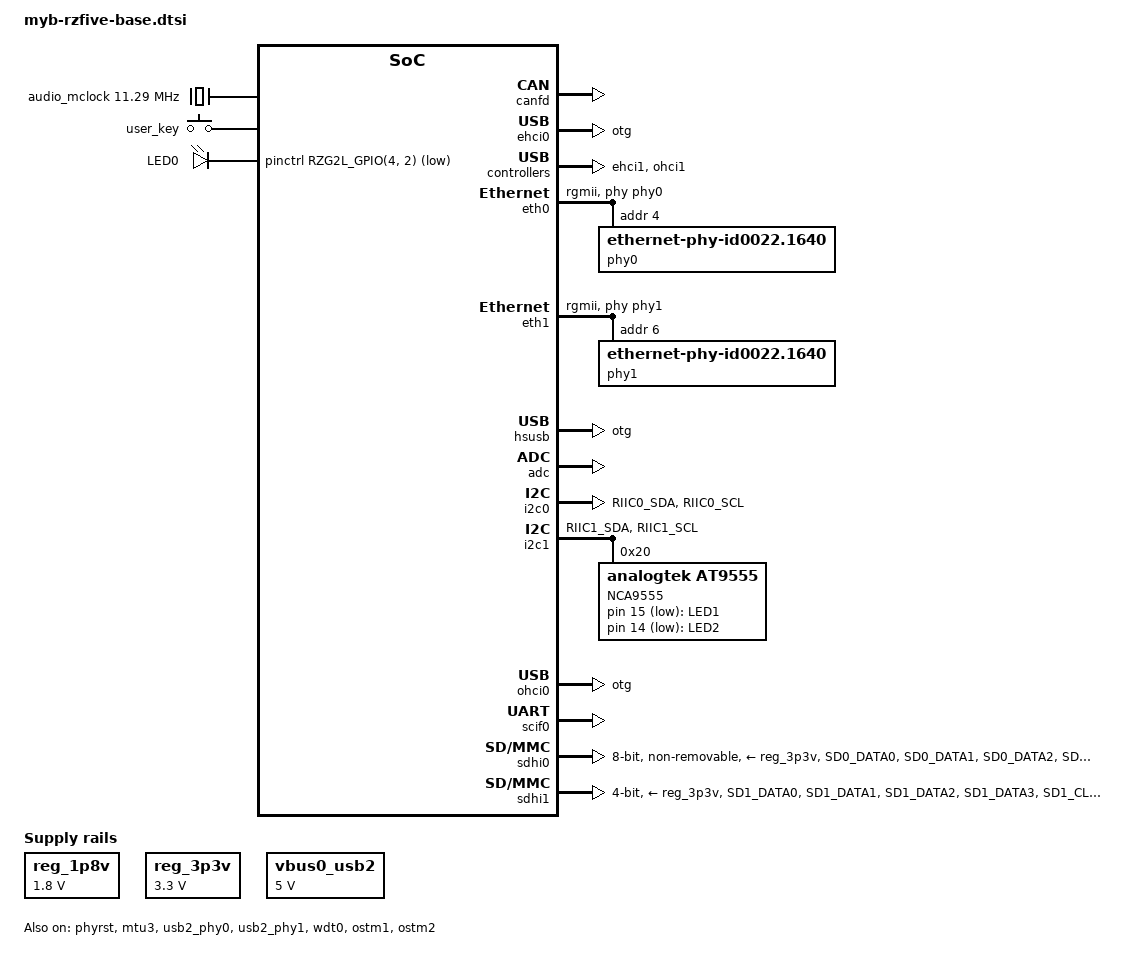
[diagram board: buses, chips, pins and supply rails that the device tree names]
// SPDX-License-Identifier: GPL-2.0
/*
 * Device Tree Source for the RZ/Five Type1 dev board common parts
 *
 * Copyright (C) 2022 MYiR Electronics Corp.
 */

#include <dt-bindings/pinctrl/rzg2l-pinctrl.h>
#include <dt-bindings/gpio/gpio.h>
#include <dt-bindings/input/input.h>

/ {
	aliases {
		i2c0 = &i2c0;
		i2c1 = &i2c1;
		serial0 = &scif0;
		mmc0 = &sdhi0;
		mmc1 = &sdhi1;

		ethernet0 = &eth0;
		ethernet1 = &eth1;
	};

	chosen {
		bootargs = "ignore_loglevel";
		stdout-path = "serial0:115200n8";
	};

	audio_mclock: audio_mclock {
		compatible = "fixed-clock";
		#clock-cells = <0>;
		clock-frequency = <11289600>;
	};

	reg_1p8v: regulator0 {
		compatible = "regulator-fixed";

		regulator-name = "fixed-1.8V";
		regulator-min-microvolt = <1800000>;
		regulator-max-microvolt = <1800000>;
		regulator-boot-on;
		regulator-always-on;
	};

	reg_3p3v: regulator1 {
		compatible = "regulator-fixed";

		regulator-name = "fixed-3.3V";
		regulator-min-microvolt = <3300000>;
		regulator-max-microvolt = <3300000>;
		regulator-boot-on;
		regulator-always-on;
	};

	vbus0_usb2: regulator-vbus0-usb2 {
		compatible = "regulator-fixed";

		regulator-name = "USB20_VBUS0";
		regulator-min-microvolt = <5000000>;
		regulator-max-microvolt = <5000000>;
	};

	x1_clk: x1-clock {
		compatible = "fixed-clock";
		#clock-cells = <0>;
		clock-frequency = <24000000>;
	};

	keyboard {
		compatible = "gpio-keys";
		status = "okay";
		key-1 {
			interrupt-parent = <&pinctrl>;
			interrupts = <RZG2L_GPIO(18, 4) IRQ_TYPE_LEVEL_LOW>;
			linux,code = <KEY_1>;
			label = "user_key";
		};
	};


	leds {
		compatible = "gpio-leds";

		led0 {
			gpios = <&pinctrl RZG2L_GPIO(4, 2) GPIO_ACTIVE_LOW>;
			label = "LED0";
			default-state = "on";
			linux,default-trigger = "heartbeat";
		};

		led1 {
			gpios = <&NCA9555 15 GPIO_ACTIVE_LOW>;
			label = "LED1";
			default-state = "on";
			linux,default-trigger = "heartbeat";
		};

		led2 {
			gpios = <&NCA9555 14 GPIO_ACTIVE_LOW>;
			label = "LED2";
			default-state = "on";
			linux,default-trigger = "heartbeat";
		};
	};

};

&audio_clk1{
	clock-frequency = <11289600>;
};

&audio_clk2{
	clock-frequency = <12288000>;
};

&canfd {
	pinctrl-0 = <&canfd0_pins>;
	pinctrl-names = "default";
	status = "okay";
	channel0 {
		status = "okay";
	};
	channel1 {
		status = "disabled";
	};
};

&ehci0 {
	dr_mode = "otg";
	status = "okay";
};

&ehci1 {
	status = "okay";
};


&eth0 {
	pinctrl-0 = <&ether0_pins>;
	pinctrl-names = "default";
	phy-handle = <&phy0>;
	phy-mode = "rgmii";
	status = "okay";

	phy0: ethernet-phy@4 {
		compatible = "ethernet-phy-id0022.1640",
				 "ethernet-phy-ieee802.3-c22";
		reg = <4>;
		rxc-skew-psec = <2400>;
		txc-skew-psec = <2400>;
		rxdv-skew-psec = <0>;
		txdv-skew-psec = <0>;
		rxd0-skew-psec = <0>;
		rxd1-skew-psec = <0>;
		rxd2-skew-psec = <0>;
		rxd3-skew-psec = <0>;
		txd0-skew-psec = <0>;
		txd1-skew-psec = <0>;
		txd2-skew-psec = <0>;
		txd3-skew-psec = <0>;
		// interrupt-parent = <&pinctrl>;
		// interrupts = <RZG2L_GPIO(4, 5) IRQ_TYPE_LEVEL_LOW>;
	};
};

&eth1 {
	pinctrl-0 = <&ether1_pins>;
	pinctrl-names = "default";
	phy-handle = <&phy1>;
	phy-mode = "rgmii";
	status = "okay";

	phy1: ethernet-phy@6 {
		compatible = "ethernet-phy-id0022.1640",
			     "ethernet-phy-ieee802.3-c22";
		reg = <6>;
		rxc-skew-psec = <2400>;
		txc-skew-psec = <2400>;
		rxdv-skew-psec = <0>;
		txdv-skew-psec = <0>;
		rxd0-skew-psec = <0>;
		rxd1-skew-psec = <0>;
		rxd2-skew-psec = <0>;
		rxd3-skew-psec = <0>;
		txd0-skew-psec = <0>;
		txd1-skew-psec = <0>;
		txd2-skew-psec = <0>;
		txd3-skew-psec = <0>;
		// interrupt-parent = <&pinctrl>;
		// interrupts = <RZG2L_GPIO(8, 2) IRQ_TYPE_EDGE_FALLING>;
	};
};

&hsusb {
	dr_mode = "otg";
	status = "okay";
};

&adc {
        pinctrl-0 = <&adc_pins>;
        pinctrl-names = "default";
        status = "okay";

	/delete-node/ channel@3;
	/delete-node/ channel@4;
	/delete-node/ channel@5;
	/delete-node/ channel@6;
	/delete-node/ channel@7;
};

&i2c0 {
	pinctrl-0 = <&i2c0_pins>;
	pinctrl-names = "default";

	status = "okay";
};

&i2c1 {
	pinctrl-0 = <&i2c1_pins>;
	pinctrl-names = "default";
	status = "okay";

	NCA9555: NCA9555@20 {
			compatible = "analogtek,at9555";
			reg = <0x20>;
			#gpio-cells = <2>;
			gpio_base = <512>;
	};

};

&phyrst {
	status = "okay";
};

&ohci0 {
	dr_mode = "otg";
	status = "okay";
};

&ohci1 {
	status = "okay";
};

&pinctrl {
	pinctrl-0 = <&sound_clk_pins>;
	pinctrl-names = "default";

	adc_pins: adc {
			pinmux = <RZG2L_PORT_PINMUX(10, 4, 2)>; /* ADC_TRG */
	};

	canfd0_pins: canfd0 {
		pinmux = <RZG2L_PORT_PINMUX(13, 1, 3)>, /* TX */
			 <RZG2L_PORT_PINMUX(13, 2, 3)>; /* RX */
	};

	ether0_pins: eth0 {
		pinmux =
			 <RZG2L_PORT_PINMUX(4, 3, 1)>, /* ET0_MDC */
			 <RZG2L_PORT_PINMUX(4, 4, 1)>, /* ET0_MDIO */
			 <RZG2L_PORT_PINMUX(1, 0, 1)>, /* ET0_TXC */
			 <RZG2L_PORT_PINMUX(1, 1, 1)>, /* ET0_TX_CTL */
			 <RZG2L_PORT_PINMUX(1, 2, 1)>, /* ET0_TXD0 */
			 <RZG2L_PORT_PINMUX(1, 3, 1)>, /* ET0_TXD1 */
			 <RZG2L_PORT_PINMUX(1, 4, 1)>, /* ET0_TXD2 */
			 <RZG2L_PORT_PINMUX(2, 0, 1)>, /* ET0_TXD3 */
			 <RZG2L_PORT_PINMUX(3, 0, 1)>, /* ET0_RXC */
			 <RZG2L_PORT_PINMUX(3, 1, 1)>, /* ET0_RX_CTL */
			 <RZG2L_PORT_PINMUX(3, 2, 1)>, /* ET0_RXD0 */
			 <RZG2L_PORT_PINMUX(3, 3, 1)>, /* ET0_RXD1 */
			 <RZG2L_PORT_PINMUX(4, 0, 1)>, /* ET0_RXD2 */
			 <RZG2L_PORT_PINMUX(4, 1, 1)>; /* ET0_RXD3 */
	};

	ether1_pins: eth1 {
		pinmux = 
			 <RZG2L_PORT_PINMUX(10, 2, 1)>, /* ET1_MDC */
			 <RZG2L_PORT_PINMUX(10, 3, 1)>, /* ET1_MDIO */
			 <RZG2L_PORT_PINMUX(7, 0, 1)>, /* ET1_TXC */
			 <RZG2L_PORT_PINMUX(7, 1, 1)>, /* ET1_TX_CTL */
			 <RZG2L_PORT_PINMUX(7, 2, 1)>, /* ET1_TXD0 */
			 <RZG2L_PORT_PINMUX(7, 3, 1)>, /* ET1_TXD1 */
			 <RZG2L_PORT_PINMUX(7, 4, 1)>, /* ET1_TXD2 */
			 <RZG2L_PORT_PINMUX(8, 0, 1)>, /* ET1_TXD3 */
			 <RZG2L_PORT_PINMUX(8, 4, 1)>, /* ET1_RXC */
			 <RZG2L_PORT_PINMUX(9, 0, 1)>, /* ET1_RX_CTL */
			 <RZG2L_PORT_PINMUX(9, 1, 1)>, /* ET1_RXD0 */
			 <RZG2L_PORT_PINMUX(9, 2, 1)>, /* ET1_RXD1 */
			 <RZG2L_PORT_PINMUX(9, 3, 1)>, /* ET1_RXD2 */
			 <RZG2L_PORT_PINMUX(10, 0, 1)>; /* ET1_RXD3 */
	};

	scif0_pins: scif0 {
		pinmux = <RZG2L_PORT_PINMUX(6, 4, 6)>, /* TX */
			 <RZG2L_PORT_PINMUX(6, 3, 6)>; /* RX */
	};

	scif1_pins: scif1 {
		pinmux = <RZG2L_PORT_PINMUX(8, 1, 3)>, /* TX */
			 <RZG2L_PORT_PINMUX(8, 0, 3)>; /* RX */
	};

	i2c0_pins: i2c0 {
		pins = "RIIC0_SDA", "RIIC0_SCL";
		input-enable;
	};

	i2c1_pins: i2c1 {
		pins = "RIIC1_SDA", "RIIC1_SCL";
		input-enable;
	};

	/* Support pinctrl for MMC function of SDHI0*/
	sdhi0_pins: sd0 {
		sd0_data {
			pins =  "SD0_DATA0", "SD0_DATA1", "SD0_DATA2",
				"SD0_DATA3", "SD0_DATA4", "SD0_DATA5",
				"SD0_DATA6", "SD0_DATA7";
			power-source  = <1800>;
		};

		sd0_ctrl {
			pins = "SD0_CLK", "SD0_CMD", "SD0_RST#";
			power-source = <1800>;
		};
	};

	sdhi1_pins: sd1 {
		sd1_data {
			pins =	"SD1_DATA0", "SD1_DATA1", "SD1_DATA2",
				"SD1_DATA3";
			power-source  = <3300>;
		};

		sd1_ctrl {
			pins = "SD1_CLK", "SD1_CMD";
			power-source  = <3300>;
		};
	};

	sdhi1_pins_uhs: sd1_uhs {
		sd1_data_uhs {
			pins =	"SD1_DATA0", "SD1_DATA1", "SD1_DATA2",
				"SD1_DATA3";
			power-source  = <1800>;
		};

		sd1_ctrl_uhs {
			pins = "SD1_CLK", "SD1_CMD";
			power-source  = <1800>;
		};
	};

	sound_clk_pins: sound_clk {
		pins = "AUDIO_CLK1", "AUDIO_CLK2";
		input-enable;
	};

	ssi1_pins: ssi1 {
		pinmux = <RZG2L_PORT_PINMUX(17, 0, 2)>, /* BCK */
			 <RZG2L_PORT_PINMUX(17, 1, 2)>, /* RCK */
			 <RZG2L_PORT_PINMUX(17, 2, 2)>, /* TXD */
			 <RZG2L_PORT_PINMUX(17, 3, 2)>; /* RXD */
	};

	usb0_pins: usb0 {
		pinmux = <RZG2L_PORT_PINMUX(5, 0, 1)>, /* VBUS */
			 <RZG2L_PORT_PINMUX(5, 2, 1)>, /* OVC */
			 <RZG2L_PORT_PINMUX(5, 3, 1)>; /* OTG_ID */
	};

	usb1_pins: usb1 {
		pinmux = <RZG2L_PORT_PINMUX(6, 1, 1)>, /* OVC */
			 <RZG2L_PORT_PINMUX(6, 0, 1)>; /* VBUS */
	};

};

&scif0 {
	pinctrl-0 = <&scif0_pins>;
	pinctrl-names = "default";
	status = "okay";
};

/* eMMC */
&sdhi0 {
	pinctrl-0 = <&sdhi0_pins>;
	pinctrl-1 = <&sdhi0_pins>;
	pinctrl-names = "default", "state_uhs";

	vmmc-supply = <&reg_3p3v>;
	vqmmc-supply = <&reg_1p8v>;
	bus-width = <8>;
	mmc-hs200-1_8v;
	non-removable;
	fixed-emmc-driver-type = <1>;
	status = "okay";
};

/* TF */
&sdhi1 {
	pinctrl-0 = <&sdhi1_pins>;
	pinctrl-1 = <&sdhi1_pins_uhs>;
	pinctrl-names = "default", "state_uhs";
	cd-gpios = <&pinctrl RZG2L_GPIO(0, 2) GPIO_ACTIVE_LOW>;

	vmmc-supply = <&reg_3p3v>;
	vqmmc-supply = <&reg_3p3v>;

	bus-width = <4>;
	sd-uhs-sdr50;
	sd-uhs-sdr104;
	status = "okay";
};

&mtu3 {
	status = "okay";
};

&ssi1 {
	pinctrl-0 = <&ssi1_pins>;
	pinctrl-names = "default";

	status = "disabled";
};


&usb2_phy0 {
	pinctrl-0 = <&usb0_pins>;
	pinctrl-names = "default";

	vbus-supply = <&vbus0_usb2>;
	status = "okay";
};

&usb2_phy1 {
	pinctrl-0 = <&usb1_pins>;
	pinctrl-names = "default";

	status = "okay";
};

&extal_clk {
	clock-frequency = <24000000>;
};

&wdt0 {
	status = "okay";
	timeout-sec = <60>;
};


&sbc {
	status = "disabled";
};

&ostm1 {
	status = "okay";
};

&ostm2 {
	status = "okay";
};
